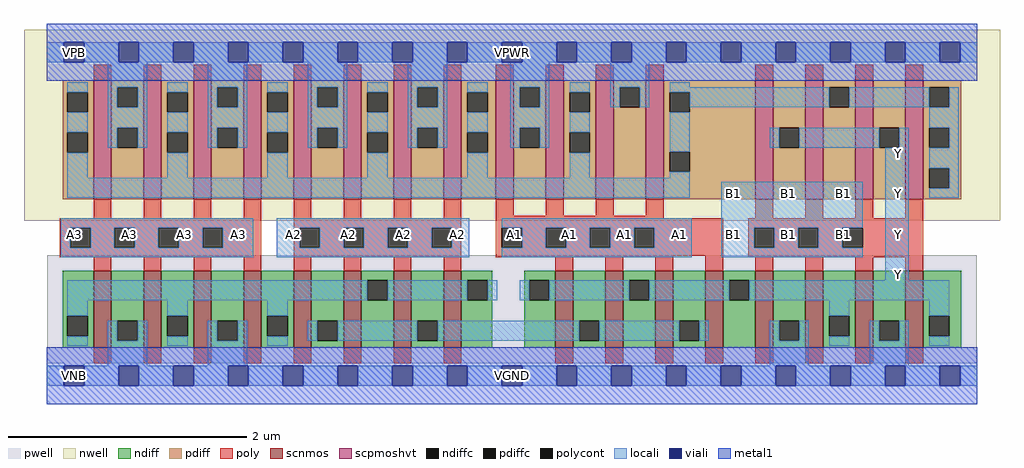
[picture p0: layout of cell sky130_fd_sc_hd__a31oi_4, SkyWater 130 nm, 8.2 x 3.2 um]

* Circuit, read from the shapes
.subckt sky130_fd_sc_hd__a31oi_4 A1 A2 A3 B1 VGND VNB VPB VPWR Y
XM1 VGND A3 n1 VNB sky130_fd_pr__nfet_01v8 w=0.65 l=0.15 m=4
XM2 n2 A2 n1 VNB sky130_fd_pr__nfet_01v8 w=0.65 l=0.15 m=4
XM3 n2 A1 Y VNB sky130_fd_pr__nfet_01v8 w=0.65 l=0.15 m=4
XM4 VGND B1 Y VNB sky130_fd_pr__nfet_01v8 w=0.65 l=0.15 m=4
XM5 VPWR A3 n3 VPB sky130_fd_pr__pfet_01v8_hvt w=1 l=0.15 m=4
XM6 VPWR A2 n3 VPB sky130_fd_pr__pfet_01v8_hvt w=1 l=0.15 m=4
XM7 VPWR A1 n3 VPB sky130_fd_pr__pfet_01v8_hvt w=1 l=0.15 m=4
XM8 Y B1 n3 VPB sky130_fd_pr__pfet_01v8_hvt w=1 l=0.15 m=4
.ends

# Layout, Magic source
magic
tech sky130B
magscale 1 2
<< nwell >>
rect -38 261 1602 582
<< pwell >>
rect 1 21 1563 203
rect 30 -17 64 21
<< scnmos >>
rect 79 47 109 177
rect 163 47 193 177
rect 247 47 277 177
rect 331 47 361 177
rect 415 47 445 177
rect 499 47 529 177
rect 583 47 613 177
rect 667 47 697 177
rect 855 47 885 177
rect 939 47 969 177
rect 1023 47 1053 177
rect 1107 47 1137 177
rect 1191 47 1221 177
rect 1275 47 1305 177
rect 1359 47 1389 177
rect 1443 47 1473 177
<< scpmoshvt >>
rect 79 297 109 497
rect 163 297 193 497
rect 247 297 277 497
rect 331 297 361 497
rect 415 297 445 497
rect 499 297 529 497
rect 583 297 613 497
rect 667 297 697 497
rect 755 297 785 497
rect 839 297 869 497
rect 923 297 953 497
rect 1007 297 1037 497
rect 1191 297 1221 497
rect 1275 297 1305 497
rect 1359 297 1389 497
rect 1443 297 1473 497
<< ndiff >>
rect 27 101 79 177
rect 27 67 35 101
rect 69 67 79 101
rect 27 47 79 67
rect 109 93 163 177
rect 109 59 119 93
rect 153 59 163 93
rect 109 47 163 59
rect 193 101 247 177
rect 193 67 203 101
rect 237 67 247 101
rect 193 47 247 67
rect 277 93 331 177
rect 277 59 287 93
rect 321 59 331 93
rect 277 47 331 59
rect 361 101 415 177
rect 361 67 371 101
rect 405 67 415 101
rect 361 47 415 67
rect 445 93 499 177
rect 445 59 455 93
rect 489 59 499 93
rect 445 47 499 59
rect 529 161 583 177
rect 529 127 539 161
rect 573 127 583 161
rect 529 47 583 127
rect 613 93 667 177
rect 613 59 623 93
rect 657 59 667 93
rect 613 47 667 59
rect 697 161 749 177
rect 697 127 707 161
rect 741 127 749 161
rect 697 47 749 127
rect 803 161 855 177
rect 803 127 811 161
rect 845 127 855 161
rect 803 47 855 127
rect 885 93 939 177
rect 885 59 895 93
rect 929 59 939 93
rect 885 47 939 59
rect 969 161 1023 177
rect 969 127 979 161
rect 1013 127 1023 161
rect 969 47 1023 127
rect 1053 93 1107 177
rect 1053 59 1063 93
rect 1097 59 1107 93
rect 1053 47 1107 59
rect 1137 161 1191 177
rect 1137 127 1147 161
rect 1181 127 1191 161
rect 1137 47 1191 127
rect 1221 93 1275 177
rect 1221 59 1231 93
rect 1265 59 1275 93
rect 1221 47 1275 59
rect 1305 101 1359 177
rect 1305 67 1315 101
rect 1349 67 1359 101
rect 1305 47 1359 67
rect 1389 93 1443 177
rect 1389 59 1399 93
rect 1433 59 1443 93
rect 1389 47 1443 59
rect 1473 101 1537 177
rect 1473 67 1483 101
rect 1517 67 1537 101
rect 1473 47 1537 67
<< pdiff >>
rect 27 477 79 497
rect 27 443 35 477
rect 69 443 79 477
rect 27 409 79 443
rect 27 375 35 409
rect 69 375 79 409
rect 27 297 79 375
rect 109 485 163 497
rect 109 451 119 485
rect 153 451 163 485
rect 109 417 163 451
rect 109 383 119 417
rect 153 383 163 417
rect 109 297 163 383
rect 193 477 247 497
rect 193 443 203 477
rect 237 443 247 477
rect 193 409 247 443
rect 193 375 203 409
rect 237 375 247 409
rect 193 297 247 375
rect 277 485 331 497
rect 277 451 287 485
rect 321 451 331 485
rect 277 417 331 451
rect 277 383 287 417
rect 321 383 331 417
rect 277 297 331 383
rect 361 477 415 497
rect 361 443 371 477
rect 405 443 415 477
rect 361 409 415 443
rect 361 375 371 409
rect 405 375 415 409
rect 361 297 415 375
rect 445 485 499 497
rect 445 451 455 485
rect 489 451 499 485
rect 445 417 499 451
rect 445 383 455 417
rect 489 383 499 417
rect 445 297 499 383
rect 529 477 583 497
rect 529 443 539 477
rect 573 443 583 477
rect 529 409 583 443
rect 529 375 539 409
rect 573 375 583 409
rect 529 297 583 375
rect 613 485 667 497
rect 613 451 623 485
rect 657 451 667 485
rect 613 417 667 451
rect 613 383 623 417
rect 657 383 667 417
rect 613 297 667 383
rect 697 477 755 497
rect 697 443 707 477
rect 741 443 755 477
rect 697 409 755 443
rect 697 375 707 409
rect 741 375 755 409
rect 697 297 755 375
rect 785 485 839 497
rect 785 451 795 485
rect 829 451 839 485
rect 785 417 839 451
rect 785 383 795 417
rect 829 383 839 417
rect 785 297 839 383
rect 869 477 923 497
rect 869 443 879 477
rect 913 443 923 477
rect 869 409 923 443
rect 869 375 879 409
rect 913 375 923 409
rect 869 297 923 375
rect 953 485 1007 497
rect 953 451 963 485
rect 997 451 1007 485
rect 953 297 1007 451
rect 1037 477 1191 497
rect 1037 443 1047 477
rect 1081 443 1191 477
rect 1037 377 1191 443
rect 1037 343 1047 377
rect 1081 343 1191 377
rect 1037 297 1191 343
rect 1221 417 1275 497
rect 1221 383 1231 417
rect 1265 383 1275 417
rect 1221 297 1275 383
rect 1305 485 1359 497
rect 1305 451 1315 485
rect 1349 451 1359 485
rect 1305 297 1359 451
rect 1389 417 1443 497
rect 1389 383 1399 417
rect 1433 383 1443 417
rect 1389 297 1443 383
rect 1473 485 1537 497
rect 1473 451 1483 485
rect 1517 451 1537 485
rect 1473 417 1537 451
rect 1473 383 1483 417
rect 1517 383 1537 417
rect 1473 349 1537 383
rect 1473 315 1483 349
rect 1517 315 1537 349
rect 1473 297 1537 315
<< ndiffc >>
rect 35 67 69 101
rect 119 59 153 93
rect 203 67 237 101
rect 287 59 321 93
rect 371 67 405 101
rect 455 59 489 93
rect 539 127 573 161
rect 623 59 657 93
rect 707 127 741 161
rect 811 127 845 161
rect 895 59 929 93
rect 979 127 1013 161
rect 1063 59 1097 93
rect 1147 127 1181 161
rect 1231 59 1265 93
rect 1315 67 1349 101
rect 1399 59 1433 93
rect 1483 67 1517 101
<< pdiffc >>
rect 35 443 69 477
rect 35 375 69 409
rect 119 451 153 485
rect 119 383 153 417
rect 203 443 237 477
rect 203 375 237 409
rect 287 451 321 485
rect 287 383 321 417
rect 371 443 405 477
rect 371 375 405 409
rect 455 451 489 485
rect 455 383 489 417
rect 539 443 573 477
rect 539 375 573 409
rect 623 451 657 485
rect 623 383 657 417
rect 707 443 741 477
rect 707 375 741 409
rect 795 451 829 485
rect 795 383 829 417
rect 879 443 913 477
rect 879 375 913 409
rect 963 451 997 485
rect 1047 443 1081 477
rect 1047 343 1081 377
rect 1231 383 1265 417
rect 1315 451 1349 485
rect 1399 383 1433 417
rect 1483 451 1517 485
rect 1483 383 1517 417
rect 1483 315 1517 349
<< poly >>
rect 79 497 109 523
rect 163 497 193 523
rect 247 497 277 523
rect 331 497 361 523
rect 415 497 445 523
rect 499 497 529 523
rect 583 497 613 523
rect 667 497 697 523
rect 755 497 785 523
rect 839 497 869 523
rect 923 497 953 523
rect 1007 497 1037 523
rect 1191 497 1221 523
rect 1275 497 1305 523
rect 1359 497 1389 523
rect 1443 497 1473 523
rect 79 265 109 297
rect 163 265 193 297
rect 247 265 277 297
rect 331 265 361 297
rect 22 249 361 265
rect 22 215 40 249
rect 74 215 114 249
rect 148 215 188 249
rect 222 215 262 249
rect 296 215 361 249
rect 22 199 361 215
rect 79 177 109 199
rect 163 177 193 199
rect 247 177 277 199
rect 331 177 361 199
rect 415 265 445 297
rect 499 265 529 297
rect 583 265 613 297
rect 667 265 697 297
rect 415 249 697 265
rect 415 215 425 249
rect 459 215 499 249
rect 533 215 573 249
rect 607 215 647 249
rect 681 215 697 249
rect 415 199 697 215
rect 755 269 785 297
rect 839 269 869 297
rect 923 269 953 297
rect 1007 269 1037 297
rect 755 265 1037 269
rect 1191 265 1221 297
rect 1275 265 1305 297
rect 1359 265 1389 297
rect 1443 265 1473 297
rect 755 249 1137 265
rect 755 215 765 249
rect 799 215 839 249
rect 873 215 913 249
rect 947 215 987 249
rect 1021 215 1137 249
rect 755 202 1137 215
rect 755 199 1053 202
rect 415 177 445 199
rect 499 177 529 199
rect 583 177 613 199
rect 667 177 697 199
rect 855 177 885 199
rect 939 177 969 199
rect 1023 177 1053 199
rect 1107 177 1137 202
rect 1179 249 1473 265
rect 1179 215 1189 249
rect 1223 215 1263 249
rect 1297 215 1337 249
rect 1371 215 1473 249
rect 1179 199 1473 215
rect 1191 177 1221 199
rect 1275 177 1305 199
rect 1359 177 1389 199
rect 1443 177 1473 199
rect 79 21 109 47
rect 163 21 193 47
rect 247 21 277 47
rect 331 21 361 47
rect 415 21 445 47
rect 499 21 529 47
rect 583 21 613 47
rect 667 21 697 47
rect 855 21 885 47
rect 939 21 969 47
rect 1023 21 1053 47
rect 1107 21 1137 47
rect 1191 21 1221 47
rect 1275 21 1305 47
rect 1359 21 1389 47
rect 1443 21 1473 47
<< polycont >>
rect 40 215 74 249
rect 114 215 148 249
rect 188 215 222 249
rect 262 215 296 249
rect 425 215 459 249
rect 499 215 533 249
rect 573 215 607 249
rect 647 215 681 249
rect 765 215 799 249
rect 839 215 873 249
rect 913 215 947 249
rect 987 215 1021 249
rect 1189 215 1223 249
rect 1263 215 1297 249
rect 1337 215 1371 249
<< locali >>
rect 0 527 29 561
rect 63 527 121 561
rect 155 527 213 561
rect 247 527 305 561
rect 339 527 397 561
rect 431 527 489 561
rect 523 527 581 561
rect 615 527 673 561
rect 707 527 765 561
rect 799 527 857 561
rect 891 527 949 561
rect 983 527 1041 561
rect 1075 527 1133 561
rect 1167 527 1225 561
rect 1259 527 1317 561
rect 1351 527 1409 561
rect 1443 527 1501 561
rect 1535 527 1564 561
rect 35 477 69 493
rect 35 409 69 443
rect 103 485 169 527
rect 103 451 119 485
rect 153 451 169 485
rect 103 417 169 451
rect 103 383 119 417
rect 153 383 169 417
rect 203 477 237 493
rect 203 409 237 443
rect 35 333 69 375
rect 271 485 337 527
rect 271 451 287 485
rect 321 451 337 485
rect 271 417 337 451
rect 271 383 287 417
rect 321 383 337 417
rect 371 477 405 493
rect 371 409 405 443
rect 203 333 237 375
rect 439 485 505 527
rect 439 451 455 485
rect 489 451 505 485
rect 439 417 505 451
rect 439 383 455 417
rect 489 383 505 417
rect 539 477 573 493
rect 539 409 573 443
rect 371 333 405 375
rect 607 485 673 527
rect 607 451 623 485
rect 657 451 673 485
rect 607 417 673 451
rect 607 383 623 417
rect 657 383 673 417
rect 707 477 741 493
rect 707 409 741 443
rect 539 333 573 375
rect 779 485 845 527
rect 779 451 795 485
rect 829 451 845 485
rect 779 417 845 451
rect 779 383 795 417
rect 829 383 845 417
rect 879 477 913 493
rect 947 485 1013 527
rect 947 451 963 485
rect 997 451 1013 485
rect 1047 485 1081 493
rect 1047 477 1315 485
rect 879 409 913 443
rect 707 333 741 375
rect 879 333 913 375
rect 1081 451 1315 477
rect 1349 451 1483 485
rect 1517 451 1533 485
rect 1047 377 1081 443
rect 1483 417 1533 451
rect 1215 383 1231 417
rect 1265 383 1399 417
rect 1433 383 1449 417
rect 1047 333 1081 343
rect 35 299 1081 333
rect 24 249 347 265
rect 24 215 40 249
rect 74 215 114 249
rect 148 215 188 249
rect 222 215 262 249
rect 296 215 347 249
rect 24 199 347 215
rect 387 249 710 265
rect 387 215 425 249
rect 459 215 499 249
rect 533 215 573 249
rect 607 215 647 249
rect 681 215 710 249
rect 387 199 710 215
rect 765 249 1084 265
rect 799 215 839 249
rect 873 215 913 249
rect 947 215 987 249
rect 1021 215 1084 249
rect 765 199 1084 215
rect 1134 249 1371 326
rect 1134 215 1189 249
rect 1223 215 1263 249
rect 1297 215 1337 249
rect 1134 199 1371 215
rect 1409 161 1449 383
rect 1517 383 1533 417
rect 1483 349 1533 383
rect 1517 315 1533 349
rect 1483 299 1533 315
rect 35 127 539 161
rect 573 127 707 161
rect 741 127 757 161
rect 795 127 811 161
rect 845 127 979 161
rect 1013 127 1147 161
rect 1181 127 1517 161
rect 35 101 69 127
rect 203 101 237 127
rect 35 51 69 67
rect 103 59 119 93
rect 153 59 169 93
rect 103 17 169 59
rect 371 101 405 127
rect 203 51 237 67
rect 271 59 287 93
rect 321 59 337 93
rect 271 17 337 59
rect 1315 101 1349 127
rect 371 51 405 67
rect 439 59 455 93
rect 489 59 623 93
rect 657 59 895 93
rect 929 59 1063 93
rect 1097 59 1113 93
rect 1215 59 1231 93
rect 1265 59 1281 93
rect 1215 17 1281 59
rect 1483 101 1517 127
rect 1315 51 1349 67
rect 1383 59 1399 93
rect 1433 59 1449 93
rect 1383 17 1449 59
rect 1483 51 1517 67
rect 0 -17 29 17
rect 63 -17 121 17
rect 155 -17 213 17
rect 247 -17 305 17
rect 339 -17 397 17
rect 431 -17 489 17
rect 523 -17 581 17
rect 615 -17 673 17
rect 707 -17 765 17
rect 799 -17 857 17
rect 891 -17 949 17
rect 983 -17 1041 17
rect 1075 -17 1133 17
rect 1167 -17 1225 17
rect 1259 -17 1317 17
rect 1351 -17 1409 17
rect 1443 -17 1501 17
rect 1535 -17 1564 17
<< viali >>
rect 29 527 63 561
rect 121 527 155 561
rect 213 527 247 561
rect 305 527 339 561
rect 397 527 431 561
rect 489 527 523 561
rect 581 527 615 561
rect 673 527 707 561
rect 765 527 799 561
rect 857 527 891 561
rect 949 527 983 561
rect 1041 527 1075 561
rect 1133 527 1167 561
rect 1225 527 1259 561
rect 1317 527 1351 561
rect 1409 527 1443 561
rect 1501 527 1535 561
rect 29 -17 63 17
rect 121 -17 155 17
rect 213 -17 247 17
rect 305 -17 339 17
rect 397 -17 431 17
rect 489 -17 523 17
rect 581 -17 615 17
rect 673 -17 707 17
rect 765 -17 799 17
rect 857 -17 891 17
rect 949 -17 983 17
rect 1041 -17 1075 17
rect 1133 -17 1167 17
rect 1225 -17 1259 17
rect 1317 -17 1351 17
rect 1409 -17 1443 17
rect 1501 -17 1535 17
<< metal1 >>
rect 0 561 1564 592
rect 0 527 29 561
rect 63 527 121 561
rect 155 527 213 561
rect 247 527 305 561
rect 339 527 397 561
rect 431 527 489 561
rect 523 527 581 561
rect 615 527 673 561
rect 707 527 765 561
rect 799 527 857 561
rect 891 527 949 561
rect 983 527 1041 561
rect 1075 527 1133 561
rect 1167 527 1225 561
rect 1259 527 1317 561
rect 1351 527 1409 561
rect 1443 527 1501 561
rect 1535 527 1564 561
rect 0 496 1564 527
rect 0 17 1564 48
rect 0 -17 29 17
rect 63 -17 121 17
rect 155 -17 213 17
rect 247 -17 305 17
rect 339 -17 397 17
rect 431 -17 489 17
rect 523 -17 581 17
rect 615 -17 673 17
rect 707 -17 765 17
rect 799 -17 857 17
rect 891 -17 949 17
rect 983 -17 1041 17
rect 1075 -17 1133 17
rect 1167 -17 1225 17
rect 1259 -17 1317 17
rect 1351 -17 1409 17
rect 1443 -17 1501 17
rect 1535 -17 1564 17
rect 0 -48 1564 -17
<< labels >>
flabel locali s 1414 153 1448 187 0 FreeSans 200 0 0 0 Y
port 9 nsew signal output
flabel locali s 1414 221 1448 255 0 FreeSans 200 0 0 0 Y
port 9 nsew signal output
flabel locali s 1414 289 1448 323 0 FreeSans 200 0 0 0 Y
port 9 nsew signal output
flabel locali s 1414 357 1448 391 0 FreeSans 200 0 0 0 Y
port 9 nsew signal output
flabel locali s 1138 289 1172 323 0 FreeSans 200 0 0 0 B1
port 4 nsew signal input
flabel locali s 770 221 804 255 0 FreeSans 200 0 0 0 A1
port 1 nsew signal input
flabel locali s 306 221 340 255 0 FreeSans 200 0 0 0 A3
port 3 nsew signal input
flabel locali s 1138 221 1172 255 0 FreeSans 200 0 0 0 B1
port 4 nsew signal input
flabel locali s 1322 289 1356 323 0 FreeSans 200 0 0 0 B1
port 4 nsew signal input
flabel locali s 1230 289 1264 323 0 FreeSans 200 0 0 0 B1
port 4 nsew signal input
flabel locali s 1322 221 1356 255 0 FreeSans 200 0 0 0 B1
port 4 nsew signal input
flabel locali s 1230 221 1264 255 0 FreeSans 200 0 0 0 B1
port 4 nsew signal input
flabel locali s 582 221 616 255 0 FreeSans 200 0 0 0 A2
port 2 nsew signal input
flabel locali s 490 221 524 255 0 FreeSans 200 0 0 0 A2
port 2 nsew signal input
flabel locali s 398 221 432 255 0 FreeSans 200 0 0 0 A2
port 2 nsew signal input
flabel locali s 1046 221 1080 255 0 FreeSans 200 0 0 0 A1
port 1 nsew signal input
flabel locali s 214 221 248 255 0 FreeSans 200 0 0 0 A3
port 3 nsew signal input
flabel locali s 122 221 156 255 0 FreeSans 200 0 0 0 A3
port 3 nsew signal input
flabel locali s 30 221 64 255 0 FreeSans 200 0 0 0 A3
port 3 nsew signal input
flabel locali s 674 221 708 255 0 FreeSans 200 0 0 0 A2
port 2 nsew signal input
flabel locali s 954 221 988 255 0 FreeSans 200 0 0 0 A1
port 1 nsew signal input
flabel locali s 862 221 896 255 0 FreeSans 200 0 0 0 A1
port 1 nsew signal input
flabel pwell s 30 -17 64 17 0 FreeSans 200 0 0 0 VNB
port 6 nsew ground bidirectional
flabel nwell s 30 527 64 561 0 FreeSans 200 0 0 0 VPB
port 7 nsew power bidirectional
flabel metal1 s 30 527 64 561 0 FreeSans 200 0 0 0 VPWR
port 8 nsew power bidirectional abutment
flabel metal1 s 30 -17 64 17 0 FreeSans 200 0 0 0 VGND
port 5 nsew ground bidirectional abutment
rlabel comment s 0 0 0 0 4 a31oi_4
rlabel metal1 s 0 -48 1564 48 1 VGND
port 5 nsew ground bidirectional abutment
rlabel metal1 s 0 496 1564 592 1 VPWR
port 8 nsew power bidirectional abutment
<< properties >>
string FIXED_BBOX 0 0 1564 544
string GDS_END 4149346
string GDS_FILE $PDKPATH/libs.ref/sky130_fd_sc_hd/gds/sky130_fd_sc_hd.gds
string GDS_START 4136480
string LEFclass CORE
string LEFsite unithd
string LEFsymmetry X Y R90
string path 0.000 0.000 39.100 0.000 
<< end >>
